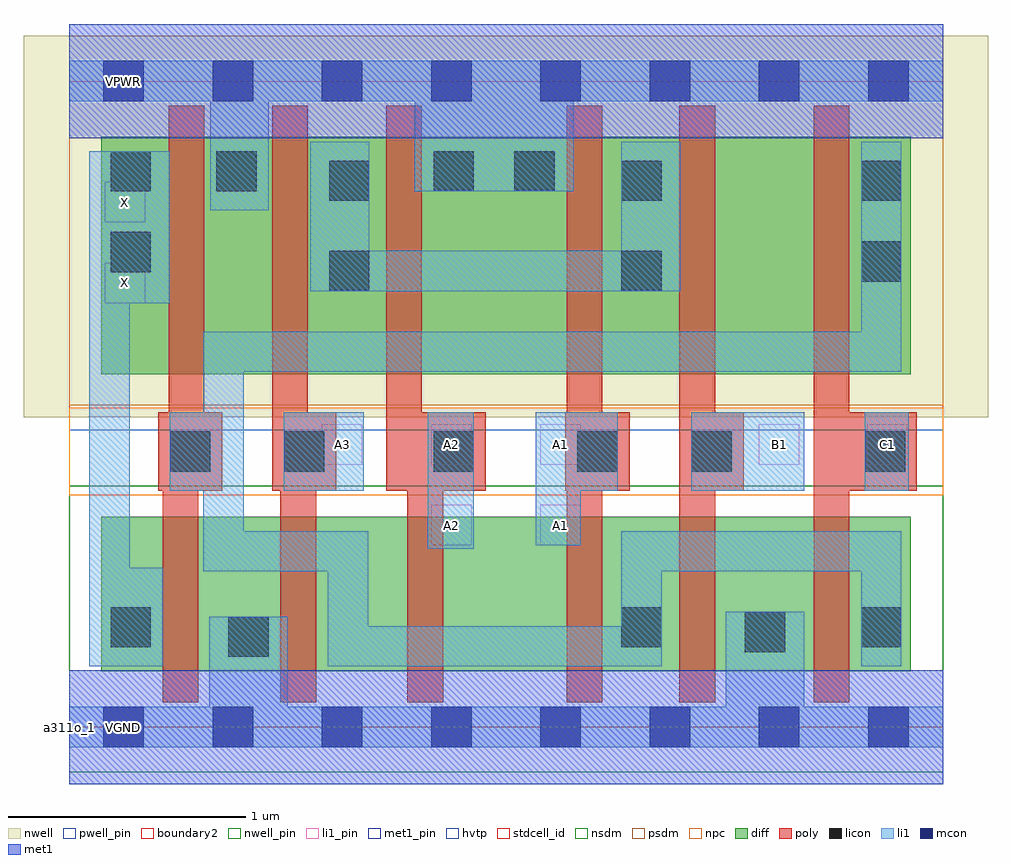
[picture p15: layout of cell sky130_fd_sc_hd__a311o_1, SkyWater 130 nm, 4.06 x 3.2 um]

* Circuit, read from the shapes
.subckt sky130_fd_sc_hd__a311o_1 A1 A2 A3 B1 C1 VGND VNB VPB VPWR X
XM1 VGND n1 X VNB sky130_fd_pr__nfet_01v8 w=0.65 l=0.15
XM2 n2 A3 VGND VNB sky130_fd_pr__nfet_01v8 w=0.65 l=0.15
XM3 n3 A2 n2 VNB sky130_fd_pr__nfet_01v8 w=0.65 l=0.15
XM4 n1 A1 n3 VNB sky130_fd_pr__nfet_01v8 w=0.65 l=0.15
XM5 VGND B1 n1 VNB sky130_fd_pr__nfet_01v8 w=0.65 l=0.15
XM6 n1 C1 VGND VNB sky130_fd_pr__nfet_01v8 w=0.65 l=0.15
XM7 VPWR n1 X VPB sky130_fd_pr__pfet_01v8_hvt w=1 l=0.15
XM8 n4 A3 VPWR VPB sky130_fd_pr__pfet_01v8_hvt w=1 l=0.15
XM9 VPWR A2 n4 VPB sky130_fd_pr__pfet_01v8_hvt w=1 l=0.15
XM10 n4 A1 VPWR VPB sky130_fd_pr__pfet_01v8_hvt w=1 l=0.15
XM11 n5 B1 n4 VPB sky130_fd_pr__pfet_01v8_hvt w=1 l=0.15
XM12 n1 C1 n5 VPB sky130_fd_pr__pfet_01v8_hvt w=1 l=0.15
.ends

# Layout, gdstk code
import gdstk
lib = gdstk.Library(unit=1e-6, precision=1e-09)
def R(c, l, rs):  # rectangles x0, y0, x1, y1
    for r in rs: c.add(gdstk.rectangle(r[:2], r[2:], *l))
def A(c, l, x, y, w, h, nx, ny, dx, dy):  # array of equal rectangles
    R(c, l, [(x+i*dx, y+j*dy, x+i*dx+w, y+j*dy+h) for i in range(nx) for j in range(ny)])
def P(c, l, *ps):  # polygons
    for p in ps: c.add(gdstk.Polygon(p, *l))
nwell_pin = (64, 16)
nwell = (64, 20)
diff = (65, 20)
poly = (66, 20)
licon = (66, 44)
li1_pin = (67, 16)
li1 = (67, 20)
mcon = (67, 44)
met1_pin = (68, 16)
met1 = (68, 20)
hvtp = (78, 44)
stdcell_id = (81, 4)
nsdm = (93, 44)
psdm = (94, 20)
npc = (95, 20)
pwell_pin = (122, 16)
boundary2 = (236, 0)

sky130_fd_sc_hd__a311o_1 = lib.new_cell('sky130_fd_sc_hd__a311o_1')
R(sky130_fd_sc_hd__a311o_1, nwell_pin, [(0.145,2.635,0.315,2.805)])
R(sky130_fd_sc_hd__a311o_1, nwell, [(-0.19,1.305,3.87,2.91)])
R(sky130_fd_sc_hd__a311o_1, diff, [(0.135,0.235,3.545,0.885), (0.135,1.485,3.545,2.485)])
P(sky130_fd_sc_hd__a311o_1, poly, [(3.135,0.105),(3.135,2.615),(3.285,2.615),(3.285,1.325),(3.57,1.325),(3.57,0.995),(3.285,0.995),(3.285,0.105)],
  [(2.57,0.105),(2.57,2.615),(2.72,2.615),(2.72,1.325),(2.84,1.325),(2.84,0.995),(2.72,0.995),(2.72,0.105)],
  [(2.095,0.105),(2.095,0.995),(2.09,0.995),(2.09,1.325),(2.095,1.325),(2.095,2.615),(2.245,2.615),(2.245,1.325),(2.36,1.325),(2.36,0.995),(2.245,0.995),(2.245,0.105)],
  [(1.425,0.105),(1.425,0.995),(1.335,0.995),(1.335,2.615),(1.485,2.615),(1.485,1.325),(1.755,1.325),(1.755,0.995),(1.575,0.995),(1.575,0.105)],
  [(0.89,0.105),(0.89,0.995),(0.855,0.995),(0.855,2.615),(1.005,2.615),(1.005,1.325),(1.125,1.325),(1.125,0.995),(1.04,0.995),(1.04,0.105)],
  [(0.395,0.105),(0.395,0.995),(0.375,0.995),(0.375,1.325),(0.42,1.325),(0.42,2.615),(0.57,2.615),(0.57,1.325),(0.645,1.325),(0.645,0.995),(0.545,0.995),(0.545,0.105)])
R(sky130_fd_sc_hd__a311o_1, licon, [(0.67,0.295,0.84,0.465), (2.845,0.315,3.015,0.485), (0.175,0.335,0.345,0.505), (2.325,0.335,2.495,0.505), (3.335,0.335,3.505,0.505), (0.425,1.075,0.595,1.245), (0.905,1.075,1.075,1.245), (1.535,1.075,1.705,1.245), (2.14,1.075,2.31,1.245), (2.62,1.075,2.79,1.245), (3.35,1.075,3.52,1.245), (1.095,1.835,1.265,2.005), (2.325,1.835,2.495,2.005), (3.335,1.875,3.505,2.045), (0.175,1.915,0.345,2.085), (1.095,2.215,1.265,2.385), (2.325,2.215,2.495,2.385), (3.335,2.215,3.505,2.385), (0.175,2.255,0.345,2.425), (0.62,2.255,0.79,2.425), (1.535,2.255,1.705,2.425), (1.875,2.255,2.045,2.425)])
A(sky130_fd_sc_hd__a311o_1, li1_pin, 1.065, 1.105, 0.17, 0.17, 3, 1, 0.46, 0)
R(sky130_fd_sc_hd__a311o_1, li1_pin, [(1.525,0.765,1.695,0.935), (1.985,0.765,2.155,0.935), (2.905,1.105,3.075,1.275), (3.36,1.105,3.53,1.275), (0.15,1.785,0.32,1.955), (0.15,2.125,0.32,2.295)])
R(sky130_fd_sc_hd__a311o_1, li1, [(1.51,0.75,1.705,1.325), (0.905,0.995,1.24,1.325), (2.62,0.995,3.095,1.325), (3.35,0.995,3.535,1.325)])
P(sky130_fd_sc_hd__a311o_1, li1, [(0.595,2.175),(0.595,2.635),(0,2.635),(0,2.805),(3.68,2.805),(3.68,2.635),(2.125,2.635),(2.125,2.255),(1.455,2.255),(1.455,2.635),(0.84,2.635),(0.84,2.175)],
  [(0,-0.085),(0,0.085),(0.59,0.085),(0.59,0.465),(0.92,0.465),(0.92,0.085),(2.765,0.085),(2.765,0.485),(3.095,0.485),(3.095,0.085),(3.68,0.085),(3.68,-0.085)],
  [(0.085,0.255),(0.085,2.425),(0.425,2.425),(0.425,1.785),(0.255,1.785),(0.255,0.67),(0.395,0.67),(0.395,0.255)],
  [(1.015,1.835),(1.015,2.465),(1.265,2.465),(1.265,2.005),(2.325,2.005),(2.325,2.465),(2.575,2.465),(2.575,1.835)],
  [(1.965,0.765),(1.965,1.325),(2.31,1.325),(2.31,0.995),(2.155,0.995),(2.155,0.765)],
  [(1.09,0.255),(1.09,0.655),(0.565,0.655),(0.565,0.995),(0.425,0.995),(0.425,1.325),(0.565,1.325),(0.565,1.665),(3.335,1.665),(3.335,2.465),(3.505,2.465),(3.505,1.495),(0.735,1.495),(0.735,0.825),(1.26,0.825),(1.26,0.425),(2.325,0.425),(2.325,0.825),(3.505,0.825),(3.505,0.255),(3.335,0.255),(3.335,0.655),(2.495,0.655),(2.495,0.255)])
A(sky130_fd_sc_hd__a311o_1, mcon, 0.145, -0.085, 0.17, 0.17, 8, 2, 0.46, 2.72)
R(sky130_fd_sc_hd__a311o_1, met1_pin, [(0.145,-0.085,0.315,0.085), (0.145,2.635,0.315,2.805)])
R(sky130_fd_sc_hd__a311o_1, hvtp, [(0,1.25,3.68,2.72)])
R(sky130_fd_sc_hd__a311o_1, stdcell_id, [(0,0,3.68,2.72)])
R(sky130_fd_sc_hd__a311o_1, nsdm, [(0,-0.19,3.68,1.015)])
R(sky130_fd_sc_hd__a311o_1, psdm, [(0,1.355,3.68,2.91)])
R(sky130_fd_sc_hd__a311o_1, npc, [(0,0.975,3.68,1.345)])
R(sky130_fd_sc_hd__a311o_1, pwell_pin, [(0.145,-0.085,0.315,0.085)])
R(sky130_fd_sc_hd__a311o_1, boundary2, [(0,0,3.68,2.72)])
sky130_fd_sc_hd__a311o_1.add(gdstk.FlexPath([(0,2.72),(3.68,2.72)], 0.48, ends="flush", simple_path=True, layer=68, datatype=20))  # met1
sky130_fd_sc_hd__a311o_1.add(gdstk.FlexPath([(0,0),(3.68,0)], 0.48, ends="flush", simple_path=True, layer=68, datatype=20))  # met1
sky130_fd_sc_hd__a311o_1.add(gdstk.Label('VGND', (0.23,0), layer=68, texttype=5))
sky130_fd_sc_hd__a311o_1.add(gdstk.Label('VPWR', (0.23,2.72), layer=68, texttype=5))
sky130_fd_sc_hd__a311o_1.add(gdstk.Label('VPB', (0.23,2.72), layer=64, texttype=5))
sky130_fd_sc_hd__a311o_1.add(gdstk.Label('VNB', (0.23,0), layer=64, texttype=59))
sky130_fd_sc_hd__a311o_1.add(gdstk.Label('a311o_1', (0,0), layer=83, texttype=44))
sky130_fd_sc_hd__a311o_1.add(gdstk.Label('A1', (2.07,0.85), layer=67, texttype=5))
sky130_fd_sc_hd__a311o_1.add(gdstk.Label('A1', (2.07,1.19), layer=67, texttype=5))
sky130_fd_sc_hd__a311o_1.add(gdstk.Label('A2', (1.61,0.85), layer=67, texttype=5))
sky130_fd_sc_hd__a311o_1.add(gdstk.Label('A2', (1.61,1.19), layer=67, texttype=5))
sky130_fd_sc_hd__a311o_1.add(gdstk.Label('X', (0.235,2.21), layer=67, texttype=5))
sky130_fd_sc_hd__a311o_1.add(gdstk.Label('B1', (2.99,1.19), layer=67, texttype=5))
sky130_fd_sc_hd__a311o_1.add(gdstk.Label('C1', (3.445,1.19), layer=67, texttype=5))
sky130_fd_sc_hd__a311o_1.add(gdstk.Label('A3', (1.15,1.19), layer=67, texttype=5))
sky130_fd_sc_hd__a311o_1.add(gdstk.Label('X', (0.235,1.87), layer=67, texttype=5))

lib.write_gds('sky130_fd_sc_hd__a311o_1.gds')
